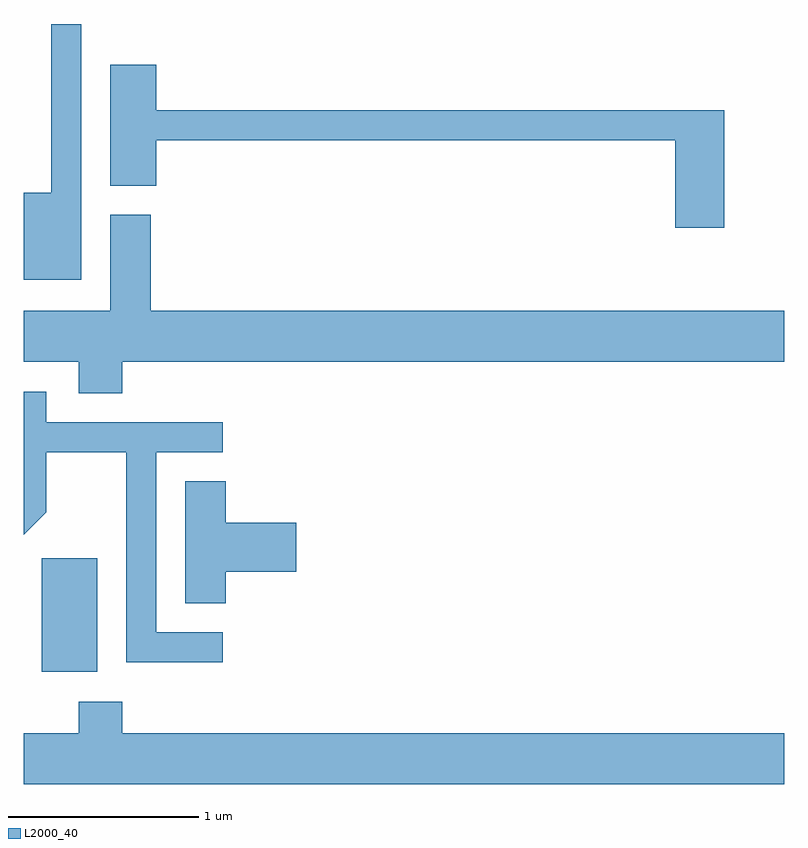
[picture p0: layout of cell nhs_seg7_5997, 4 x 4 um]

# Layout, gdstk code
import gdstk
lib = gdstk.Library(unit=1e-6, precision=1e-09)
def R(c, l, rs):  # rectangles x0, y0, x1, y1
    for r in rs: c.add(gdstk.rectangle(r[:2], r[2:], *l))
def P(c, l, *ps):  # polygons
    for p in ps: c.add(gdstk.Polygon(p, *l))
L2000_40 = (2000, 40)

nhs_seg7_5997 = lib.new_cell('nhs_seg7_5997')
R(nhs_seg7_5997, L2000_40, [(367.706,1774.846,367.999,1775.444)])
P(nhs_seg7_5997, L2000_40, [(367.914,1778.252),(367.756,1778.252),(367.756,1777.364),(367.611,1777.364),(367.611,1776.906),(367.914,1776.906)],
  [(371.294,1777.799),(368.309,1777.799),(368.309,1778.039),(368.066,1778.039),(368.066,1777.401),(368.309,1777.401),(368.309,1777.641),(371.036,1777.641),(371.036,1777.181),(371.294,1777.181)],
  [(368.129,1776.476),(371.611,1776.476),(371.611,1776.744),(368.279,1776.744),(368.279,1777.249),(368.066,1777.249),(368.066,1776.744),(367.611,1776.744),(367.611,1776.476),(367.901,1776.476),(367.901,1776.311),(368.129,1776.311)],
  [(368.658,1775.054),(368.309,1775.054),(368.309,1776.001),(368.658,1776.001),(368.658,1776.159),(367.729,1776.159),(367.729,1776.319),(367.611,1776.319),(367.611,1775.566),(367.729,1775.684),(367.729,1776.001),(368.151,1776.001),(368.151,1774.896),(368.658,1774.896)],
  [(368.674,1775.371),(369.044,1775.371),(369.044,1775.629),(368.674,1775.629),(368.674,1775.849),(368.461,1775.849),(368.461,1775.206),(368.674,1775.206)],
  [(371.611,1774.524),(368.129,1774.524),(368.129,1774.689),(367.901,1774.689),(367.901,1774.524),(367.611,1774.524),(367.611,1774.256),(371.611,1774.256)])

lib.write_gds('nhs_seg7_5997.gds')
